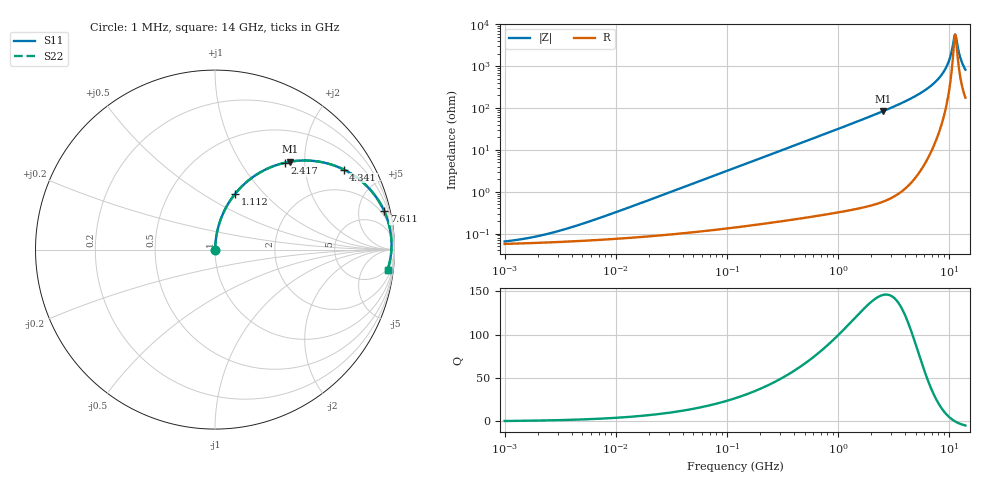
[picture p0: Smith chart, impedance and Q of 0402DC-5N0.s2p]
# MHz  S  MA  R  50
!Freq  MagS11  AngS11  MagS21  AngS21  MagS12  AngS12  MagS22  AngS22
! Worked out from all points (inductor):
!   801 points, 1 MHz to 14 GHz, reference 50 ohm
!   read as one part in series: L = 5 nH near 6.684 MHz
!   highest Q = 146 at 2.566 GHz (marker M1), where L = 5.27 nH
!   self-resonance near 11.29 GHz
!   S11 on the Smith chart (normalised r, x): 1 MHz: 1.00, +0.00; 1.112 GHz: 1.01, +0.71; 2.417 GHz: 1.01, +1.59; 4.341 GHz: 1.03, +3.20; 7.611 GHz: 1.33, +8.70; 14 GHz: 5, -16
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1  0.0006452 29.1  0.9994 -0.0  0.9994 -0.0  0.0006452 29.1
2.148335  0.0009046 48.2  0.9994 -0.0  0.9994 -0.0  0.0009046 48.2
4.958368  0.001693 66.7  0.9993 -0.1  0.9993 -0.1  0.001693 66.7
24.29341  0.007677 82.9  0.9991 -0.4  0.9991 -0.4  0.007677 82.9
119.025  0.03734 85.7  0.9979 -2.1  0.9979 -2.1  0.03734 85.7
583.1601  0.1802 78.8  0.9812 -10.4  0.9812 -10.4  0.1802 78.8
1111.729  0.3316 70.1  0.9403 -19.4  0.9403 -19.4  0.3316 70.1
1649.07  0.4663 61.8  0.881 -27.8  0.881 -27.8  0.4663 61.8
2417.075  0.6205 51.3  0.7799 -38.4  0.7799 -38.4  0.6205 51.3
2565.876  0.6453 49.4  0.7595 -40.2  0.7595 -40.2  0.6453 49.4
2857.179  0.6897 46.0  0.7194 -43.6  0.7194 -43.6  0.6897 46.0
4340.66  0.8444 31.9  0.5283 -57.6  0.5283 -57.6  0.8444 31.9
5993.236  0.9287 20.8  0.3553 -68.2  0.3553 -68.2  0.9287 20.8
7611.028  0.9665 12.8  0.2221 -75.0  0.2221 -75.0  0.9665 12.8
8680.072  0.9783 8.5  0.1488 -77.4  0.1488 -77.4  0.9783 8.5
9550.72  0.9829 5.5  0.096 -77.0  0.096 -77.0  0.9829 5.5
10138.68  0.9842 3.6  0.06358 -73.8  0.06358 -73.8  0.9842 3.6
10892.21  0.9839 1.3  0.02745 -53.5  0.02745 -53.5  0.9839 1.3
11289.73  0.9831 0.2  0.01712 -8.8  0.01712 -8.8  0.9831 0.2
11701.75  0.9818 -1.0  0.0248 42.3  0.0248 42.3  0.9818 -1.0
12875.48  0.9761 -4.0  0.07245 68.8  0.07245 68.8  0.9761 -4.0
14000  0.9684 -6.6  0.1172 71.1  0.1172 71.1  0.9684 -6.6
